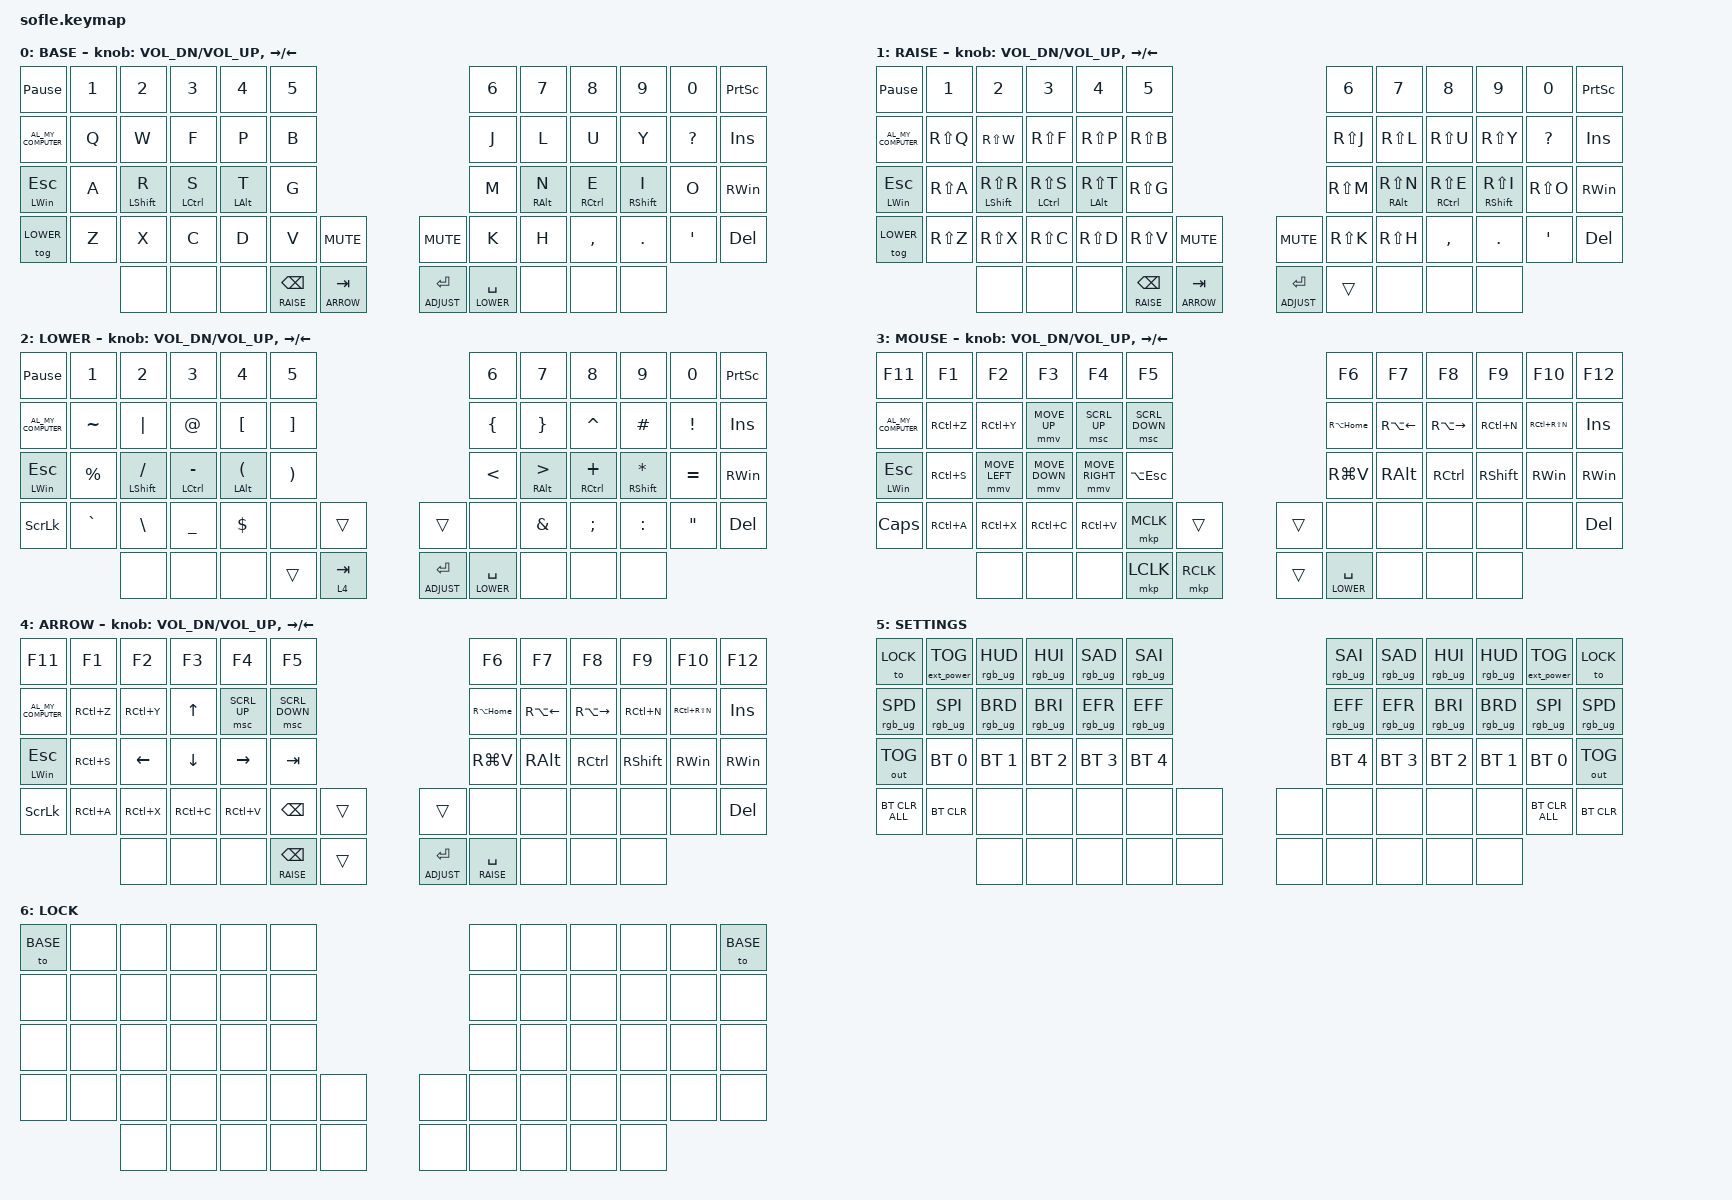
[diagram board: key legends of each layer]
#include <behaviors.dtsi>
#include <dt-bindings/zmk/keys.h>
#include <dt-bindings/zmk/bt.h>
#include <dt-bindings/zmk/rgb.h>
#include <dt-bindings/zmk/ext_power.h>
#include <dt-bindings/zmk/mouse.h>
#include <behaviors/mouse_keys.dtsi>
#include <dt-bindings/zmk/outputs.h>
&mmv {
  acceleration-exponent = <1>;      // 1
  time-to-max-speed-ms = <500>;    // 40
  delay-ms = <0>;                   // 0
};
&msc {
  acceleration-exponent = <1>;      // 0
  time-to-max-speed-ms = <40>;      // 500
  delay-ms = <0>;                   // 10
};
#define BASE 0
#define LOWER 1
#define RAISE 2
#define ADJUST 3
#define ARROW 4
#define SETTINGS 5
#define LOCK 6
&lt {
    tapping-term-ms = <200>;
    quick-tap-ms = <200>;
};
&mt {
    tapping-term-ms = <400>;
    quick-tap-ms = <200>;
};
/ {
   // Activate ADJUST layer by pressing raise and lower
    conditional_layers {
        compatible = "zmk,conditional-layers";
        st1 {
            if-layers = <RAISE ARROW>;
            then-layer = <SETTINGS>;
        };
        st2 {
            if-layers = <LOWER ADJUST>;
            then-layer = <SETTINGS>;
        };
        st3 {
            if-layers = <ADJUST ARROW>;
            then-layer = <SETTINGS>;
        };
    };
    keymap {
        compatible = "zmk,keymap";
        default_layer {
            display-name = "BASE";
            bindings = <
&kp PAUSE_BREAK       &kp N1  &kp N2            &kp N3       &kp N4          &kp N5                                           &kp N6                 &kp N7           &kp N8       &kp N9             &kp N0            &kp PRINTSCREEN
&kp C_AL_MY_COMPUTER     &kp Q   &kp W             &kp F        &kp P           &kp B                             &kp J                  &kp L            &kp U        &kp Y    &kp QMARK      &kp INS
&mt LEFT_WIN ESC      &kp A   &mt LEFT_SHIFT R  &mt LCTRL S  &mt LEFT_ALT T  &kp G                                            &kp M                  &mt RIGHT_ALT N  &mt RCTRL E  &mt RIGHT_SHIFT I  &kp O             &kp RIGHT_WIN
&tog LOWER              &kp Z   &kp X             &kp C        &kp D           &kp V       &kp C_MUTE &kp C_MUTE      &kp K                  &kp H    &kp COMMA &kp DOT &kp SINGLE_QUOTE  &kp DEL
                 &none &none &none &lt RAISE BACKSPACE  &lt ARROW TAB     &lt ADJUST ENTER       &lt LOWER SPACE  &none &none  &none
            >;
            sensor-bindings =
                <&inc_dec_kp C_VOL_DN C_VOL_UP>,
                <&inc_dec_kp RIGHT_ARROW LEFT_ARROW>;
        };
        lower_layer {
            display-name = "RAISE";
            bindings = <
&kp PAUSE_BREAK       &kp N1  &kp N2            &kp N3       &kp N4          &kp N5                                           &kp N6                 &kp N7           &kp N8       &kp N9             &kp N0            &kp PRINTSCREEN
&kp C_AL_MY_COMPUTER     &kp RS(Q)   &kp RS(W)             &kp RS(F)        &kp RS(P)           &kp RS(B)                             &kp RS(J)                  &kp RS(L)            &kp RS(U)        &kp RS(Y)    &kp QMARK      &kp INS
&mt LEFT_WIN ESC      &kp RS(A)   &mt LEFT_SHIFT RS(R)  &mt LCTRL RS(S)  &mt LEFT_ALT RS(T)  &kp RS(G)                                            &kp RS(M)                  &mt RIGHT_ALT RS(N)  &mt RCTRL RS(E)  &mt RIGHT_SHIFT RS(I)  &kp RS(O)             &kp RIGHT_WIN
&tog LOWER              &kp RS(Z)   &kp RS(X)             &kp RS(C)        &kp RS(D)           &kp RS(V)       &kp C_MUTE &kp C_MUTE      &kp RS(K)                  &kp RS(H)    &kp COMMA &kp DOT &kp SINGLE_QUOTE  &kp DEL
                        &none       &none       &none       &lt RAISE BACKSPACE  &lt ARROW TAB    &lt ADJUST ENTER  &trans    &none    &none   &none
            >;
            sensor-bindings =
                <&inc_dec_kp C_VOL_DN C_VOL_UP>,
                <&inc_dec_kp RIGHT_ARROW LEFT_ARROW>;
        };
        raise_layer {
            display-name = "LOWER";
            bindings = <
&kp PAUSE_BREAK       &kp N1  &kp N2            &kp N3       &kp N4          &kp N5                                           &kp N6                 &kp N7           &kp N8       &kp N9             &kp N0            &kp PRINTSCREEN
&kp C_AL_MY_COMPUTER      &kp TILDE  &kp PIPE             &kp AT           &kp LBKT           &kp RBKT                        &kp LBRC   &kp RBRC          &kp CARET       &kp POUND             &kp EXCL           &kp INS
&mt LEFT_WIN ESC      &kp PRCNT  &mt LEFT_SHIFT FSLH  &mt LCTRL MINUS  &mt LEFT_ALT LPAR  &kp RPAR                        &kp LT     &mt RIGHT_ALT GT  &mt RCTRL PLUS  &mt RIGHT_SHIFT STAR  &kp EQUAL          &kp RIGHT_WIN
&kp SCROLLLOCK        &kp GRAVE  &kp BSLH             &kp UNDER        &kp DLLR           &none     &trans     &trans     &none      &kp AMPS          &kp SEMI        &kp COLON             &kp DOUBLE_QUOTES  &kp DELETE
                    &none    &none      &none    &trans     &lt 4 TAB     &lt ADJUST ENTER       &lt LOWER SPACE    &none   &none    &none
            >;
            sensor-bindings =
                <&inc_dec_kp C_VOL_DN C_VOL_UP>,
                <&inc_dec_kp RIGHT_ARROW LEFT_ARROW>;
        };
        adjust_layer {
            display-name = "MOUSE";
            bindings = <
&kp F11               &kp F1         &kp F2            &kp F3          &kp F4           &kp F5                                 &kp F6        &kp F7              &kp F8               &kp F9           &kp F10         &kp F12
&kp C_AL_MY_COMPUTER  &kp RC(Z)  &kp RC(Y)   &mmv MOVE_UP    &msc SCRL_UP   &msc SCRL_DOWN                      &kp RA(HOME)  &kp RA(LEFT_ARROW)  &kp RA(RIGHT_ARROW)  &kp RC(N)        &kp RC(RS(N))   &kp INS
&mt LEFT_WIN ESC      &kp RC(S)  &mmv MOVE_LEFT    &mmv MOVE_DOWN  &mmv MOVE_RIGHT  &kp LA(ESC)                            &kp RG(V)     &kp RIGHT_ALT       &kp RCTRL            &kp RIGHT_SHIFT  &kp RIGHT_WIN   &kp RIGHT_WIN
&kp CAPS              &kp RC(A)      &kp RC(X)      &kp RC(C)   &kp RC(V)   &mkp MCLK           &trans       &trans  &none    &none          &none         &none       &none  &kp DEL
                        &none       &none       &none       &mkp LCLK   &mkp RCLK    &trans  &lt LOWER SPACE    &none    &none   &none
            >;
            sensor-bindings =
                <&inc_dec_kp C_VOL_DN C_VOL_UP>,
                <&inc_dec_kp RIGHT_ARROW LEFT_ARROW>;
        };
        layer_4 {
            display-name = "ARROW";
            bindings = <
&kp F11               &kp F1         &kp F2            &kp F3          &kp F4           &kp F5                                 &kp F6        &kp F7              &kp F8               &kp F9           &kp F10         &kp F12
&kp C_AL_MY_COMPUTER   &kp RC(Z)  &kp RC(Y)  &kp UP          &msc SCRL_UP   &msc SCRL_DOWN                   &kp RA(HOME)     &kp RA(LEFT)     &kp RA(RIGHT_ARROW)  &kp RC(N)        &kp RC(RS(N))    &kp INS
&mt LEFT_WIN ESC      &kp RC(S)  &kp LEFT_ARROW    &kp DOWN_ARROW  &kp RIGHT_ARROW  &kp TAB                                &kp RG(V)        &kp RIGHT_ALT    &kp RCTRL            &kp RIGHT_SHIFT  &kp RIGHT_WIN    &kp RIGHT_WIN
&kp SCROLLLOCK        &kp RC(A)      &kp RC(X)      &kp RC(C)   &kp RC(V)   &kp BACKSPACE     &trans    &trans     &none  &none  &none      &none  &none  &kp DEL
                                  &none           &none           &none           &lt RAISE BACKSPACE     &trans    &lt ADJUST ENTER  &lt RAISE SPACE &none &none &none
            >;
            sensor-bindings =
                <&inc_dec_kp C_VOL_DN C_VOL_UP>,
                <&inc_dec_kp RIGHT_ARROW LEFT_ARROW>;
        };
        layer_5 {
            display-name = "SETTINGS";
            bindings = <
&to LOCK &ext_power EP_TOG   &rgb_ug RGB_HUD  &rgb_ug RGB_HUI  &rgb_ug RGB_SAD   &rgb_ug RGB_SAI                        &rgb_ug RGB_SAI   &rgb_ug RGB_SAD &rgb_ug RGB_HUI  &rgb_ug RGB_HUD &ext_power EP_TOG &to LOCK
&rgb_ug RGB_SPD &rgb_ug RGB_SPI &rgb_ug RGB_BRD &rgb_ug RGB_BRI &rgb_ug RGB_EFR &rgb_ug RGB_EFF                         &rgb_ug RGB_EFF &rgb_ug RGB_EFR  &rgb_ug RGB_BRI &rgb_ug RGB_BRD &rgb_ug RGB_SPI &rgb_ug RGB_SPD
&out OUT_TOG       &bt BT_SEL 0    &bt BT_SEL 1    &bt BT_SEL 2    &bt BT_SEL 3    &bt BT_SEL 4                   &bt BT_SEL 4        &bt BT_SEL 3    &bt BT_SEL 2    &bt BT_SEL 1    &bt BT_SEL 0    &out OUT_TOG
&bt BT_CLR_ALL      &bt BT_CLR        &none           &none           &none           &none            &none  &none  &none &none &none &none &bt BT_CLR_ALL &bt BT_CLR
                                  &none           &none           &none           &none             &none            &none   &none &none &none &none
            >;
        };
        layer_6 {
            display-name = "LOCK";
            bindings = <
&to BASE        &none           &none           &none           &none           &none            &none  &none  &none &none &none &to BASE 
&none        &none           &none           &none           &none           &none               &none  &none  &none &none &none &none 
&none        &none           &none           &none           &none           &none               &none  &none  &none &none &none &none 
&none        &none           &none           &none           &none           &none  &none  &none &none &none &none &none &none &none
                                  &none           &none           &none           &none             &none            &none   &none &none &none &none
            >;
        };
    };
};
